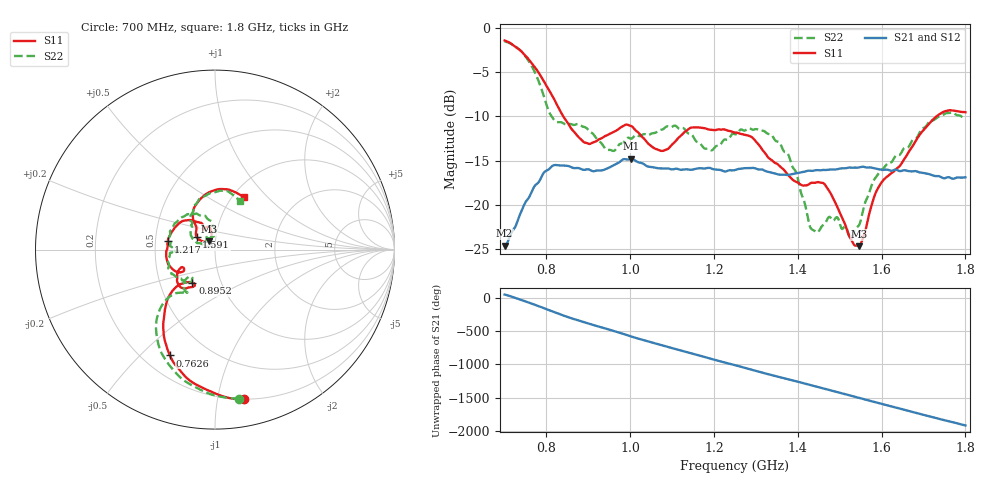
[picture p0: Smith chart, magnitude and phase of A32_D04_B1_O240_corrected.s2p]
! Created with skrf 1.9.0 (http://scikit-rf.org).
# Hz S RI R 50.0
!freq ReS11 ImS11 ReS21 ImS21 ReS12 ImS12 ReS22 ImS22
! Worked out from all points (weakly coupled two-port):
!   1601 points, 700 MHz to 1.8 GHz, reference 50 ohm
!   highest |S21| = -14.78 dB at 1.002 GHz (marker M1); lowest = -24.6 dB at 700 MHz (marker M2)
!   lowest |S11| = -24.7 dB at 1.547 GHz (marker M3), VSWR 1.12, Z = 46.5 + j4.39 ohm
!   |S11| at or under -10 dB: 840 MHz to 1.731 GHz (890.7 MHz wide, 69.3 % of centre)
!   |S22| runs from -23.9 to -1.5 dB; largest |S21 - S12| = 0.0034
!   S11 on the Smith chart (normalised r, x): 700 MHz: 0.20, -1.19; 762.6 MHz: 0.31, -0.62; 895.2 MHz: 0.73, -0.28; 1.217 GHz: 0.58, +0.06; 1.591 GHz: 0.81, +0.11; 1.8 GHz: 1.13, +0.74
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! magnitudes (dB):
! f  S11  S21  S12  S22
! 700 MHz  -1.4  -24.6  -24.4  -1.5
! 762.6 MHz  -3.9  -18.7  -18.7  -4.1
! 816.9 MHz  -7.9  -15.5  -15.6  -10.3
! 883.6 MHz  -12.6  -16.0  -15.9  -11.1
! 895.2 MHz  -13.0  -16.0  -16.1  -11.3
! 946.1 MHz  -12.1  -15.9  -15.9  -13.8
! 1.002 GHz  -11.1  -14.8  -14.9  -12.5
! 1.067 GHz  -13.8  -15.9  -15.8  -11.6
! 1.145 GHz  -11.3  -16.0  -16.0  -12.0
! 1.217 GHz  -11.5  -16.1  -16.1  -13.1
! 1.25 GHz  -11.8  -16.1  -16.0  -12.0
! 1.357 GHz  -15.6  -16.6  -16.5  -13.0
! 1.396 GHz  -17.4  -16.5  -16.4  -16.3
! 1.434 GHz  -17.5  -16.2  -16.1  -22.8
! 1.467 GHz  -17.8  -16.1  -16.0  -22.0
! 1.493 GHz  -20.1  -16.0  -16.0  -21.4
! 1.526 GHz  -23.8  -15.8  -15.8  -23.9
! 1.547 GHz  -24.7  -15.8  -15.7  -22.2
! 1.591 GHz  -18.2  -16.0  -15.9  -16.6
! 1.617 GHz  -16.7  -16.1  -16.0  -15.3
! 1.731 GHz  -10.0  -16.7  -16.7  -10.2
! 1.8 GHz  -9.5  -16.9  -16.9  -10.3
